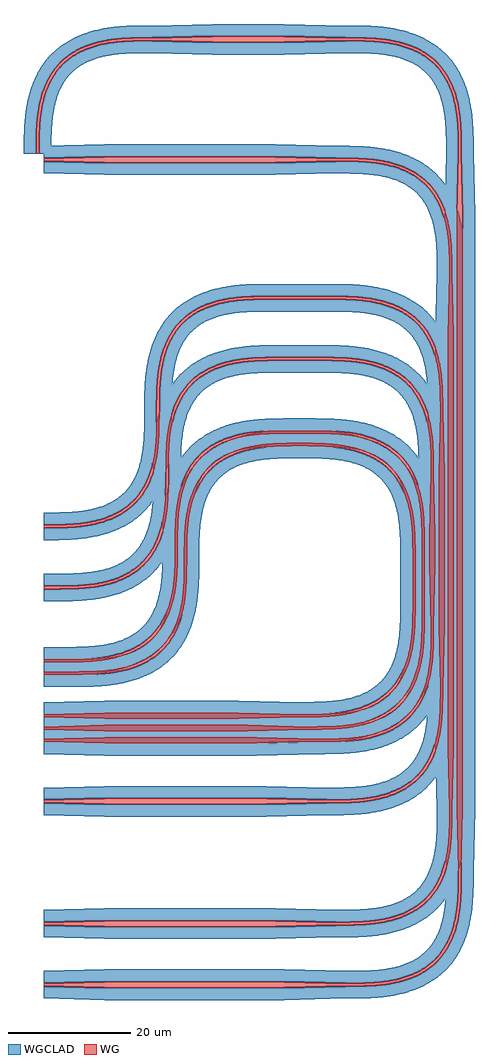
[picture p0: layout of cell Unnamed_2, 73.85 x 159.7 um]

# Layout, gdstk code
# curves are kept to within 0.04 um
from math import pi, radians
import gdstk
lib = gdstk.Library(unit=1e-6, precision=1e-09)
def R(c, l, rs):  # rectangles x0, y0, x1, y1
    for r in rs: c.add(gdstk.rectangle(r[:2], r[2:], *l))
def P(c, l, *ps):  # polygons
    for p in ps: c.add(gdstk.Polygon(p, *l))
WG = (1, 0)
WGCLAD = (111, 0)

straight_cssym_f7fe636c_ = lib.new_cell('straight_CSsym_f7fe636c_1000_L27902')
R(straight_cssym_f7fe636c_, WG, [(0,-0.5,27.902,0.5)])
R(straight_cssym_f7fe636c_, WGCLAD, [(0,-2.5,27.902,-0.5), (0,0.5,27.902,2.5)])

c_straight_cssym_f7fe636c_ = lib.new_cell('straight_CSsym_f7fe636c_1000_L24902')
R(c_straight_cssym_f7fe636c_, WG, [(0,-0.5,24.902,0.5)])
R(c_straight_cssym_f7fe636c_, WGCLAD, [(0,-2.5,24.902,-0.5), (0,0.5,24.902,2.5)])

c_straight_cssym_f7fe636c__ = lib.new_cell('straight_CSsym_f7fe636c_1000_L26402')
R(c_straight_cssym_f7fe636c__, WG, [(0,-0.5,26.402,0.5)])
R(c_straight_cssym_f7fe636c__, WGCLAD, [(0,-2.5,26.402,-0.5), (0,0.5,26.402,2.5)])

c_straight_cssym_f7fe636c___ = lib.new_cell('straight_CSsym_f7fe636c_1000_L5000')
R(c_straight_cssym_f7fe636c___, WG, [(0,-0.5,5,0.5)])
R(c_straight_cssym_f7fe636c___, WGCLAD, [(0,-2.5,5,-0.5), (0,0.5,5,2.5)])

taper_cssym_f7fe636c_500 = lib.new_cell('taper_CSsym_f7fe636c_500_CSsym_f7fe636c_1000_L10000')
P(taper_cssym_f7fe636c_500, WG, [(10,-0.5),(0,-0.25),(0,0.25),(10,0.5)])
P(taper_cssym_f7fe636c_500, WGCLAD, [(0,0.25),(0,2.25),(10,2.5),(10,0.5)],
  [(10,-2.5),(0,-2.25),(0,-0.25),(10,-0.5)])

c_straight_cssym_f7fe636c____ = lib.new_cell('straight_CSsym_f7fe636c_1000_L25000')
R(c_straight_cssym_f7fe636c____, WG, [(0,-0.5,25,0.5)])
R(c_straight_cssym_f7fe636c____, WGCLAD, [(0,-2.5,25,-0.5), (0,0.5,25,2.5)])

c_straight_cssym_f7fe636c_____ = lib.new_cell('straight_CSsym_f7fe636c_500_L6000')
R(c_straight_cssym_f7fe636c_____, WG, [(0,-0.25,6,0.25)])
R(c_straight_cssym_f7fe636c_____, WGCLAD, [(0,-2.25,6,-0.25), (0,0.25,6,2.25)])

bend_euler_cssym_f7fe636 = lib.new_cell('bend_euler_CSsym_f7fe636c_500_R10_A90_R150')
P(bend_euler_cssym_f7fe636, WG, [(0,-0.25),(0,0.25),(3.214,0.285),(5.343,0.413),(7.449,0.696),(9.255,1.116),(10.752,1.632),(12.178,2.312),(13.501,3.168),(14.496,4.019),(15.372,4.992),(16.258,6.294),(16.967,7.705),(17.51,9.193),(17.956,10.991),(18.262,13.093),(18.416,15.487),(18.451,18.701),(18.951,18.701),(18.924,15.741),(18.786,13.312),(18.544,11.43),(18.139,9.57),(17.532,7.761),(16.826,6.28),(16.095,5.121),(15.04,3.856),(13.801,2.769),(12.421,1.875),(10.94,1.169),(9.131,0.562),(7.271,0.157),(5.389,-0.085),(2.96,-0.223)])
P(bend_euler_cssym_f7fe636, WGCLAD, [(0,-2.25),(0,-0.25),(2.96,-0.223),(5.389,-0.085),(7.271,0.157),(9.131,0.562),(10.94,1.169),(12.421,1.875),(13.58,2.606),(14.845,3.661),(15.932,4.9),(16.826,6.28),(17.532,7.761),(18.139,9.57),(18.544,11.43),(18.786,13.312),(18.924,15.741),(18.951,18.701),(20.951,18.701),(20.923,15.685),(20.777,13.129),(20.516,11.097),(20.069,9.045),(19.385,7.008),(18.574,5.309),(17.531,3.698),(16.473,2.461),(15.26,1.368),(13.668,0.284),(11.98,-0.564),(9.948,-1.286),(7.897,-1.764),(5.572,-2.076),(3.016,-2.222)],
  [(0,0.25),(0,2.25),(2.891,2.276),(4.663,2.364),(6.377,2.547),(8.021,2.859),(9.575,3.322),(10.816,3.854),(12.126,4.64),(13.101,5.452),(13.934,6.402),(14.745,7.688),(15.299,8.912),(15.786,10.452),(16.118,12.084),(16.318,13.789),(16.431,16.068),(16.451,18.701),(18.451,18.701),(18.416,15.487),(18.288,13.358),(18.051,11.513),(17.656,9.701),(17.069,7.949),(16.389,6.523),(15.533,5.2),(14.496,4.019),(13.289,3.013),(11.947,2.187),(10.507,1.535),(8.744,0.977),(6.926,0.607),(5.078,0.39),(2.946,0.277)])

c_straight_cssym_f7fe636c______ = lib.new_cell('straight_CSsym_f7fe636c_1000_L11701')
R(c_straight_cssym_f7fe636c______, WG, [(0,-0.5,11.701,0.5)])
R(c_straight_cssym_f7fe636c______, WGCLAD, [(0,-2.5,11.701,-0.5), (0,0.5,11.701,2.5)])

c_straight_cssym_f7fe636c_______ = lib.new_cell('straight_CSsym_f7fe636c_500_L3000')
R(c_straight_cssym_f7fe636c_______, WG, [(0,-0.25,3,0.25)])
R(c_straight_cssym_f7fe636c_______, WGCLAD, [(0,-2.25,3,-0.25), (0,0.25,3,2.25)])

c_straight_cssym_f7fe636c________ = lib.new_cell('straight_CSsym_f7fe636c_1000_L29402')
R(c_straight_cssym_f7fe636c________, WG, [(0,-0.5,29.402,0.5)])
R(c_straight_cssym_f7fe636c________, WGCLAD, [(0,-2.5,29.402,-0.5), (0,0.5,29.402,2.5)])

c_straight_cssym_f7fe636c_________ = lib.new_cell('straight_CSsym_f7fe636c_500_L7000')
R(c_straight_cssym_f7fe636c_________, WG, [(0,-0.25,7,0.25)])
R(c_straight_cssym_f7fe636c_________, WGCLAD, [(0,-2.25,7,-0.25), (0,0.25,7,2.25)])

c_straight_cssym_f7fe636c__________ = lib.new_cell('straight_CSsym_f7fe636c_1000_L67598')
R(c_straight_cssym_f7fe636c__________, WG, [(0,-0.5,67.598,0.5)])
R(c_straight_cssym_f7fe636c__________, WGCLAD, [(0,-2.5,67.598,-0.5), (0,0.5,67.598,2.5)])

c_straight_cssym_f7fe636c___________ = lib.new_cell('straight_CSsym_f7fe636c_500_L9000')
R(c_straight_cssym_f7fe636c___________, WG, [(0,-0.25,9,0.25)])
R(c_straight_cssym_f7fe636c___________, WGCLAD, [(0,-2.25,9,-0.25), (0,0.25,9,2.25)])

c_straight_cssym_f7fe636c____________ = lib.new_cell('straight_CSsym_f7fe636c_1000_L21902')
R(c_straight_cssym_f7fe636c____________, WG, [(0,-0.5,21.902,0.5)])
R(c_straight_cssym_f7fe636c____________, WGCLAD, [(0,-2.5,21.902,-0.5), (0,0.5,21.902,2.5)])

c_straight_cssym_f7fe636c_____________ = lib.new_cell('straight_CSsym_f7fe636c_1000_L23402')
R(c_straight_cssym_f7fe636c_____________, WG, [(0,-0.5,23.402,0.5)])
R(c_straight_cssym_f7fe636c_____________, WGCLAD, [(0,-2.5,23.402,-0.5), (0,0.5,23.402,2.5)])

c_straight_cssym_f7fe636c______________ = lib.new_cell('straight_CSsym_f7fe636c_1000_L97299')
R(c_straight_cssym_f7fe636c______________, WG, [(0,-0.5,97.299,0.5)])
R(c_straight_cssym_f7fe636c______________, WGCLAD, [(0,-2.5,97.299,-0.5), (0,0.5,97.299,2.5)])

c_straight_cssym_f7fe636c_______________ = lib.new_cell('straight_CSsym_f7fe636c_500_L4500')
R(c_straight_cssym_f7fe636c_______________, WG, [(0,-0.25,4.5,0.25)])
R(c_straight_cssym_f7fe636c_______________, WGCLAD, [(0,-2.25,4.5,-0.25), (0,0.25,4.5,2.25)])

c_straight_cssym_f7fe636c________________ = lib.new_cell('straight_CSsym_f7fe636c_500_L11000')
R(c_straight_cssym_f7fe636c________________, WG, [(0,-0.25,11,0.25)])
R(c_straight_cssym_f7fe636c________________, WGCLAD, [(0,-2.25,11,-0.25), (0,0.25,11,2.25)])

c_straight_cssym_f7fe636c_________________ = lib.new_cell('straight_CSsym_f7fe636c_500_L1500')
R(c_straight_cssym_f7fe636c_________________, WG, [(0,-0.25,1.5,0.25)])
R(c_straight_cssym_f7fe636c_________________, WGCLAD, [(0,-2.25,1.5,-0.25), (0,0.25,1.5,2.25)])

unnamed_2 = lib.new_cell('Unnamed_2')
unnamed_2.add(gdstk.Reference(straight_cssym_f7fe636c_, (37.902,-41), rotation=pi))
unnamed_2.add(gdstk.Reference(c_straight_cssym_f7fe636c_, (34.902,-11), rotation=pi))
unnamed_2.add(gdstk.Reference(c_straight_cssym_f7fe636c__, (36.402,-21), rotation=pi))
unnamed_2.add(gdstk.Reference(c_straight_cssym_f7fe636c___, (63.603,22.701), rotation=3*pi/2))
unnamed_2.add(gdstk.Reference(taper_cssym_f7fe636c_500, (68.103,-32.299), rotation=pi/2))
unnamed_2.add(gdstk.Reference(taper_cssym_f7fe636c_500, (66.603,-22.299), rotation=pi/2))
unnamed_2.add(gdstk.Reference(taper_cssym_f7fe636c_500, (65.103,-2.299), rotation=pi/2))
unnamed_2.add(gdstk.Reference(taper_cssym_f7fe636c_500, (63.603,7.701), rotation=pi/2))
unnamed_2.add(gdstk.Reference(c_straight_cssym_f7fe636c____, (65.103,32.701), rotation=3*pi/2))
unnamed_2.add(gdstk.Reference(c_straight_cssym_f7fe636c_____, (38.902,51.402)))
unnamed_2.add(gdstk.Reference(bend_euler_cssym_f7fe636, (23.201,18.701), rotation=3*pi/2, x_reflection=True))
unnamed_2.add(gdstk.Reference(bend_euler_cssym_f7fe636, (21.701,20.701), rotation=3*pi/2, x_reflection=True))
unnamed_2.add(gdstk.Reference(bend_euler_cssym_f7fe636, (20.201,32.701), rotation=3*pi/2, x_reflection=True))
unnamed_2.add(gdstk.Reference(bend_euler_cssym_f7fe636, (18.701,42.701), rotation=3*pi/2, x_reflection=True))
unnamed_2.add(gdstk.Reference(straight_cssym_f7fe636c_, (10,84)))
unnamed_2.add(gdstk.Reference(bend_euler_cssym_f7fe636, (60.603,18.701), rotation=pi/2))
unnamed_2.add(gdstk.Reference(bend_euler_cssym_f7fe636, (62.103,20.701), rotation=pi/2))
unnamed_2.add(gdstk.Reference(bend_euler_cssym_f7fe636, (63.603,32.701), rotation=pi/2))
unnamed_2.add(gdstk.Reference(bend_euler_cssym_f7fe636, (65.103,42.701), rotation=pi/2))
unnamed_2.add(gdstk.Reference(bend_euler_cssym_f7fe636, (66.603,65.299), rotation=pi/2))
unnamed_2.add(gdstk.Reference(bend_euler_cssym_f7fe636, (68.103,85), rotation=pi/2))
unnamed_2.add(gdstk.Reference(bend_euler_cssym_f7fe636, (41.902,37.402), rotation=pi))
unnamed_2.add(gdstk.Reference(bend_euler_cssym_f7fe636, (40.402,39.402), rotation=pi))
unnamed_2.add(gdstk.Reference(bend_euler_cssym_f7fe636, (38.902,51.402), rotation=pi))
unnamed_2.add(gdstk.Reference(bend_euler_cssym_f7fe636, (37.402,61.402), rotation=pi))
unnamed_2.add(gdstk.Reference(bend_euler_cssym_f7fe636, (17.701,103.701), rotation=pi))
unnamed_2.add(gdstk.Reference(c_straight_cssym_f7fe636c______, (27.701,103.701)))
unnamed_2.add(gdstk.Reference(c_straight_cssym_f7fe636c_______, (0,2)))
unnamed_2.add(gdstk.Reference(c_straight_cssym_f7fe636c_______, (40.402,39.402)))
unnamed_2.add(gdstk.Reference(c_straight_cssym_f7fe636c________, (39.402,-51), rotation=pi))
unnamed_2.add(gdstk.Reference(c_straight_cssym_f7fe636c_________, (60.603,18.701), rotation=3*pi/2))
unnamed_2.add(gdstk.Reference(bend_euler_cssym_f7fe636, (49.402,-51)))
unnamed_2.add(gdstk.Reference(bend_euler_cssym_f7fe636, (47.902,-41)))
unnamed_2.add(gdstk.Reference(bend_euler_cssym_f7fe636, (46.402,-21)))
unnamed_2.add(gdstk.Reference(bend_euler_cssym_f7fe636, (44.902,-11)))
unnamed_2.add(gdstk.Reference(bend_euler_cssym_f7fe636, (43.402,-9)))
unnamed_2.add(gdstk.Reference(bend_euler_cssym_f7fe636, (41.902,-7)))
unnamed_2.add(gdstk.Reference(c_straight_cssym_f7fe636c__________, (66.603,55.299), rotation=3*pi/2))
unnamed_2.add(gdstk.Reference(taper_cssym_f7fe636c_500, (0,-51)))
unnamed_2.add(gdstk.Reference(taper_cssym_f7fe636c_500, (0,-41)))
unnamed_2.add(gdstk.Reference(taper_cssym_f7fe636c_500, (0,-21)))
unnamed_2.add(gdstk.Reference(taper_cssym_f7fe636c_500, (0,-11)))
unnamed_2.add(gdstk.Reference(taper_cssym_f7fe636c_500, (0,-9)))
unnamed_2.add(gdstk.Reference(taper_cssym_f7fe636c_500, (0,-7)))
unnamed_2.add(gdstk.Reference(taper_cssym_f7fe636c_500, (0,84)))
unnamed_2.add(gdstk.Reference(taper_cssym_f7fe636c_500, (17.701,103.701)))
unnamed_2.add(gdstk.Reference(c_straight_cssym_f7fe636c___________, (37.402,61.402)))
unnamed_2.add(gdstk.Reference(taper_cssym_f7fe636c_500, (63.603,32.701), rotation=3*pi/2))
unnamed_2.add(gdstk.Reference(taper_cssym_f7fe636c_500, (65.103,42.701), rotation=3*pi/2))
unnamed_2.add(gdstk.Reference(taper_cssym_f7fe636c_500, (66.603,65.299), rotation=3*pi/2))
unnamed_2.add(gdstk.Reference(taper_cssym_f7fe636c_500, (68.103,85), rotation=3*pi/2))
unnamed_2.add(gdstk.Reference(c_straight_cssym_f7fe636c____________, (31.902,-7), rotation=pi))
unnamed_2.add(gdstk.Reference(c_straight_cssym_f7fe636c_____________, (33.402,-9), rotation=pi))
unnamed_2.add(gdstk.Reference(c_straight_cssym_f7fe636c______________, (68.103,75), rotation=3*pi/2))
unnamed_2.add(gdstk.Reference(c_straight_cssym_f7fe636c_______________, (0,0)))
unnamed_2.add(gdstk.Reference(c_straight_cssym_f7fe636c________________, (62.103,20.701), rotation=3*pi/2))
unnamed_2.add(gdstk.Reference(taper_cssym_f7fe636c_500, (49.402,-51), rotation=pi))
unnamed_2.add(gdstk.Reference(taper_cssym_f7fe636c_500, (47.902,-41), rotation=pi))
unnamed_2.add(gdstk.Reference(taper_cssym_f7fe636c_500, (46.402,-21), rotation=pi))
unnamed_2.add(gdstk.Reference(taper_cssym_f7fe636c_500, (44.902,-11), rotation=pi))
unnamed_2.add(gdstk.Reference(taper_cssym_f7fe636c_500, (43.402,-9), rotation=pi))
unnamed_2.add(gdstk.Reference(taper_cssym_f7fe636c_500, (41.902,-7), rotation=pi))
unnamed_2.add(gdstk.Reference(taper_cssym_f7fe636c_500, (47.902,84), rotation=pi))
unnamed_2.add(gdstk.Reference(taper_cssym_f7fe636c_500, (49.402,103.701), rotation=pi))
unnamed_2.add(gdstk.Reference(c_straight_cssym_f7fe636c_________________, (0,14)))

lib.write_gds('Unnamed_2.gds')
